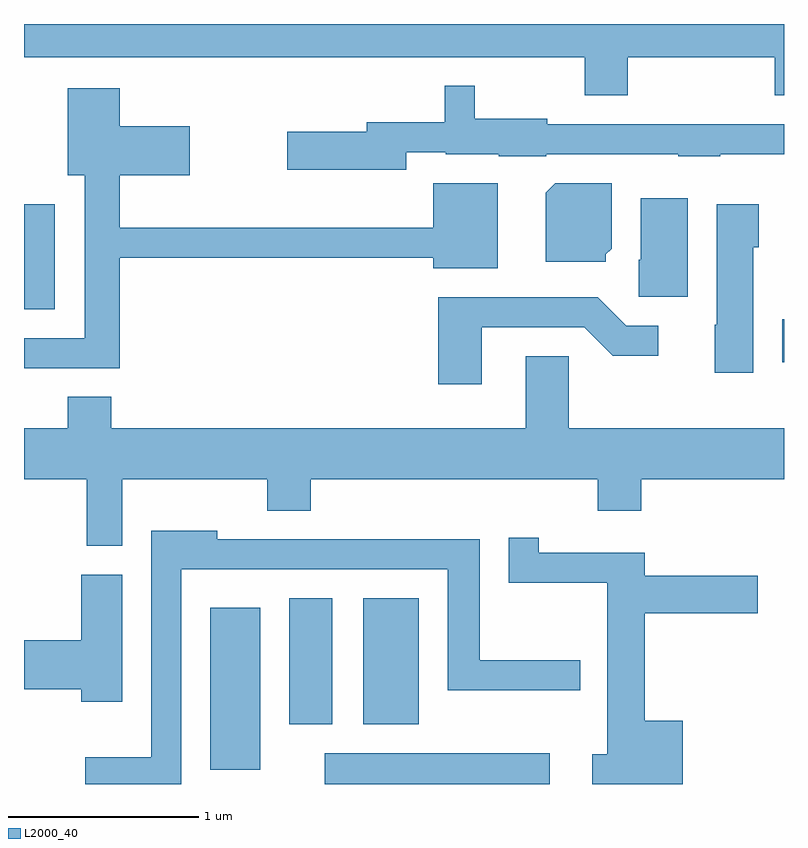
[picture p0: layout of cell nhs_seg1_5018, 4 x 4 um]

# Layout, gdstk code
import gdstk
lib = gdstk.Library(unit=1e-6, precision=1e-09)
def R(c, l, rs):  # rectangles x0, y0, x1, y1
    for r in rs: c.add(gdstk.rectangle(r[:2], r[2:], *l))
def P(c, l, *ps):  # polygons
    for p in ps: c.add(gdstk.Polygon(p, *l))
L2000_40 = (2000, 40)

nhs_seg1_5018 = lib.new_cell('nhs_seg1_5018')
R(nhs_seg1_5018, L2000_40, [(337.193,935.712,338.378,935.874), (336.591,935.786,336.854,936.639), (337.006,936.026,337.234,936.689), (337.396,936.026,337.689,936.689), (339.601,937.931,339.611,938.159), (335.611,938.211,335.774,938.764)])
P(nhs_seg1_5018, L2000_40, [(338.789,939.536),(339.561,939.536),(339.561,939.336),(339.611,939.336),(339.611,939.712),(335.611,939.712),(335.611,939.536),(338.561,939.536),(338.561,939.336),(338.789,939.336)],
  [(337.624,939.036),(337.83,939.036),(337.83,939.026),(338.11,939.026),(338.11,939.016),(338.36,939.016),(338.36,939.026),(339.055,939.026),(339.055,939.016),(339.275,939.016),(339.275,939.026),(339.611,939.026),(339.611,939.184),(338.364,939.184),(338.364,939.214),(337.984,939.214),(337.984,939.388),(337.826,939.388),(337.826,939.194),(337.416,939.194),(337.416,939.144),(336.996,939.144),(336.996,938.946),(337.624,938.946)],
  [(336.114,938.481),(337.766,938.481),(337.766,938.426),(338.104,938.426),(338.104,938.874),(337.766,938.874),(337.766,938.639),(336.114,938.639),(336.114,938.916),(336.484,938.916),(336.484,939.174),(336.114,939.174),(336.114,939.374),(335.841,939.374),(335.841,938.916),(335.931,938.916),(335.931,938.059),(335.611,938.059),(335.611,937.901),(336.114,937.901)],
  [(338.674,938.499),(338.704,938.529),(338.704,938.874),(338.407,938.874),(338.356,938.824),(338.356,938.461),(338.674,938.461)],
  [(339.104,938.794),(338.856,938.794),(338.856,938.47),(338.846,938.47),(338.846,938.276),(339.104,938.276)],
  [(339.449,938.536),(339.479,938.536),(339.479,938.764),(339.256,938.764),(339.256,938.13),(339.246,938.13),(339.246,937.876),(339.449,937.876)],
  [(338.019,938.116),(338.559,938.116),(338.709,937.966),(338.948,937.966),(338.948,938.124),(338.782,938.124),(338.632,938.274),(337.791,938.274),(337.791,937.816),(338.019,937.816)],
  [(336.129,937.316),(336.891,937.316),(336.891,937.151),(337.119,937.151),(337.119,937.316),(338.631,937.316),(338.631,937.151),(338.859,937.151),(338.859,937.316),(339.611,937.316),(339.611,937.584),(338.479,937.584),(338.479,937.964),(338.251,937.964),(338.251,937.584),(336.069,937.584),(336.069,937.749),(335.841,937.749),(335.841,937.584),(335.611,937.584),(335.611,937.316),(335.941,937.316),(335.941,936.966),(336.129,936.966)],
  [(336.439,936.841),(337.841,936.841),(337.841,936.206),(338.538,936.206),(338.538,936.364),(338.009,936.364),(338.009,936.999),(336.629,936.999),(336.629,937.044),(336.281,937.044),(336.281,935.854),(335.933,935.854),(335.933,935.712),(336.439,935.712)],
  [(339.079,936.044),(338.879,936.044),(338.879,936.611),(339.474,936.611),(339.474,936.809),(338.879,936.809),(338.879,936.929),(338.319,936.929),(338.319,937.008),(338.161,937.008),(338.161,936.771),(338.681,936.771),(338.681,935.869),(338.601,935.869),(338.601,935.712),(339.079,935.712)],
  [(336.129,936.814),(335.911,936.814),(335.911,936.469),(335.611,936.469),(335.611,936.211),(335.911,936.211),(335.911,936.146),(336.129,936.146)])

lib.write_gds('nhs_seg1_5018.gds')
